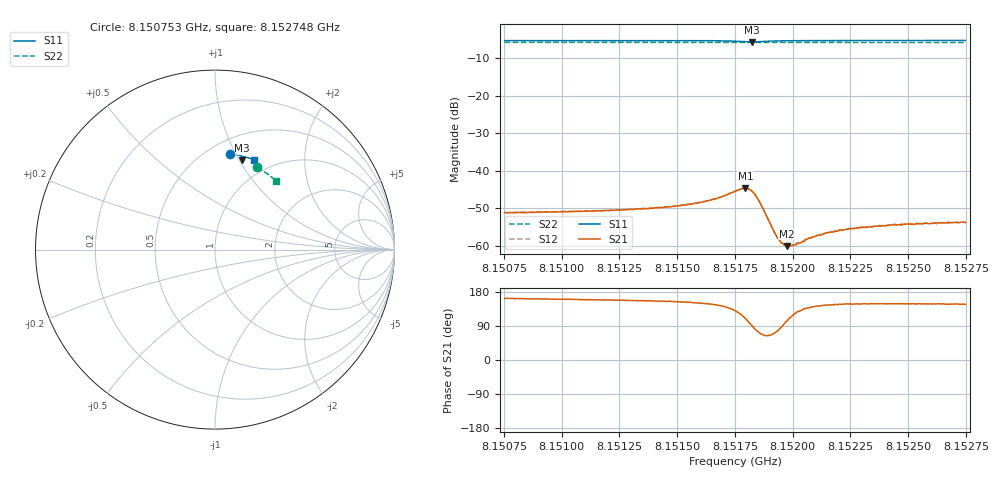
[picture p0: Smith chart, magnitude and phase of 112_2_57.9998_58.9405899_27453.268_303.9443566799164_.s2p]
#  HZ  S  RI  R  50.00
! Rohde & Schwarz Vector Network Analyzer
! Rohde-Schwarz,ZNB20-2Port,1311601062101988,3.16
! Created: UTC 3/21/2024, 12:55:15 AM
! freq[Hz]  re:S11  im:S11  re:S21  im:S21  re:S12  im:S12  re:S22  im:S22
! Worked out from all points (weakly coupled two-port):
!   401 points, 8.150753 GHz to 8.152748 GHz, reference 50 ohm
!   highest |S21| = -44.68 dB at 8.151795 GHz (marker M1); lowest = -60.0 dB at 8.151975 GHz (marker M2)
!   lowest |S11| = -5.7 dB at 8.151825 GHz (marker M3), VSWR 3.17, Z = 37.6 + j51.4 ohm
!   |S11| at or under -10 dB: nowhere
!   |S22| runs from -5.8 to -5.8 dB; largest |S21 - S12| = 0.00013
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8.1507526e9  0.0857 0.5354  -0.00262 0.000841  -0.00267 0.000895  0.235 0.458
8.1510868e9  0.1093 0.5315  -0.00271 0.00103  -0.0027 0.00105  0.2538 0.4474
8.151421e9  0.1336 0.5261  -0.00293 0.00137  -0.00294 0.0014  0.2722 0.4358
8.1515108e9  0.1405 0.5242  -0.00306 0.00154  -0.00307 0.00159  0.277 0.4327
8.1516106e9  0.1489 0.521  -0.0033 0.00196  -0.00332 0.002  0.2822 0.4291
8.1516854e9  0.1559 0.5166  -0.00358 0.00263  -0.00356 0.00267  0.2865 0.4261
8.1517502e9  0.1611 0.5088  -0.00344 0.00408  -0.00338 0.00415  0.2897 0.4235
8.1517951e9  0.1584 0.4996  -0.00196 0.0055  -0.00188 0.00553  0.2915 0.4216
8.1518101e9  0.1548 0.498  -0.000969 0.00563  -0.000893 0.00567  0.2921 0.4211
8.151825e9  0.1507 0.4981  4.7e-05 0.00528  0.000108 0.00535  0.2927 0.4207
8.15184e9  0.1472 0.5005  0.00083 0.00458  0.000883 0.00462  0.2934 0.4202
8.15186e9  0.1453 0.5051  0.00126 0.00344  0.00131 0.00345  0.2944 0.4197
8.1519148e9  0.1501 0.5139  0.000606 0.00157  0.00064 0.00152  0.2975 0.4179
8.1519298e9  0.1522 0.515  0.000358 0.0013  0.000402 0.0013  0.2982 0.4173
8.1519547e9  0.1554 0.516  1.58e-05 0.0011  3.09e-05 0.00109  0.2995 0.4164
8.1519747e9  0.1578 0.5164  -0.000217 0.000975  -0.000244 0.00102  0.3008 0.4157
8.1519996e9  0.1604 0.5166  -0.000485 0.000907  -0.000446 0.000923  0.3021 0.4146
8.1520844e9  0.1684 0.5157  -0.000994 0.00084  -0.00101 0.000857  0.3066 0.4114
8.1521543e9  0.1743 0.5145  -0.00123 0.000863  -0.00126 0.000864  0.31 0.4085
8.1522391e9  0.1809 0.5128  -0.00142 0.000895  -0.00141 0.000929  0.3143 0.4052
8.1524186e9  0.1938 0.5088  -0.0016 0.000985  -0.0016 0.00102  0.3233 0.3979
8.1527478e9  0.2159 0.5005  -0.00171 0.00112  -0.00174 0.0012  0.339 0.3839
